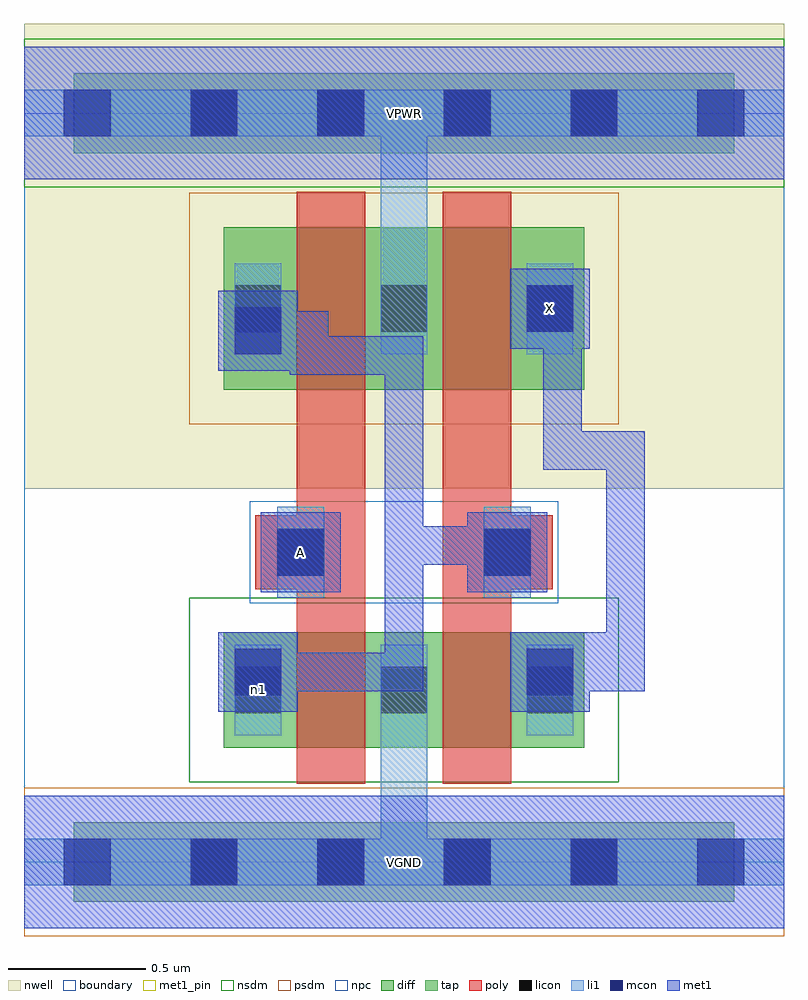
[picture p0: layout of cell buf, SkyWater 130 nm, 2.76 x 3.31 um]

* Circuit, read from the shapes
.subckt buf A VGND VPWR X n1
XM1 VGND A n1 VGND sky130_fd_pr__nfet_01v8 w=0.42 l=0.25
XM2 X n1 VGND VGND sky130_fd_pr__nfet_01v8 w=0.42 l=0.25
XM3 VPWR A n1 VPWR sky130_fd_pr__pfet_01v8 w=0.59 l=0.25
XM4 X n1 VPWR VPWR sky130_fd_pr__pfet_01v8 w=0.59 l=0.25
.ends

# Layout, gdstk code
import gdstk
lib = gdstk.Library(unit=1e-6, precision=1e-09)
def R(c, l, rs):  # rectangles x0, y0, x1, y1
    for r in rs: c.add(gdstk.rectangle(r[:2], r[2:], *l))
def A(c, l, x, y, w, h, nx, ny, dx, dy):  # array of equal rectangles
    R(c, l, [(x+i*dx, y+j*dy, x+i*dx+w, y+j*dy+h) for i in range(nx) for j in range(ny)])
nwell = (64, 20)
diff = (65, 20)
tap = (65, 44)
poly = (66, 20)
licon = (66, 44)
li1 = (67, 20)
mcon = (67, 44)
met1_pin = (68, 16)
met1 = (68, 20)
nsdm = (93, 44)
psdm = (94, 20)
npc = (95, 20)
boundary = (235, 4)

buf = lib.new_cell('buf')
R(buf, nwell, [(0,1.355,2.76,3.045)])
R(buf, diff, [(0.725,0.415,2.035,0.835), (0.725,1.715,2.035,2.305)])
R(buf, tap, [(0.18,-0.145,2.58,0.145), (0.18,2.575,2.58,2.865)])
R(buf, poly, [(0.99,0.285,1.24,2.435), (1.52,0.285,1.77,2.435), (0.84,0.99,1.17,1.26), (1.59,0.99,1.92,1.26)])
A(buf, licon, 0.605, -0.085, 0.17, 0.17, 4, 2, 0.46, 2.72)
A(buf, licon, 0.765, 0.54, 0.17, 0.17, 3, 2, 0.53, 1.385)
R(buf, licon, [(0.92,1.04,1.09,1.21), (1.67,1.04,1.84,1.21)])
A(buf, li1, 0.765, 0.46, 0.17, 0.33, 3, 2, 0.53, 1.385)
R(buf, li1, [(0,-0.085,2.76,0.085), (1.295,-0.085,1.465,0.79), (0.92,0.96,1.09,1.29), (1.67,0.96,1.84,1.29), (1.295,1.845,1.465,2.805), (0,2.635,2.76,2.805)])
A(buf, mcon, 0.145, -0.085, 0.17, 0.17, 6, 2, 0.46, 2.72)
R(buf, mcon, [(0.765,0.605,0.935,0.775), (1.825,0.605,1.995,0.775), (0.92,1.04,1.09,1.21), (1.67,1.04,1.84,1.21), (0.765,1.845,0.935,2.015), (1.825,1.925,1.995,2.095)])
R(buf, met1_pin, [(0,-0.24,2.76,0.24), (0.86,0.98,1.15,1.27), (1.765,1.865,2.055,2.155), (0,2.48,2.76,2.96)])
R(buf, met1, [(0,-0.24,2.76,0.24), (0.705,0.545,0.995,0.835), (1.765,0.545,2.055,0.835), (0.78,0.62,1.105,0.76), (0.965,0.62,1.45,0.76), (1.31,0.62,1.45,1.22), (1.84,0.62,2.14,0.76), (2,0.62,2.255,0.76), (2.055,0.62,2.115,0.835), (2.115,0.62,2.255,1.565), (0.86,0.98,1.15,1.27), (1.61,0.98,1.9,1.27), (1.31,1.08,1.795,1.22), (1.31,1.08,1.45,1.91), (1.655,1.08,1.795,1.22), (1.885,1.425,2.025,2.025), (1.885,1.425,2.255,1.565), (0.965,1.77,1.45,1.91), (0.965,1.77,1.105,2), (0.705,1.785,0.995,2.075), (0.78,1.86,1.105,2), (1.765,1.865,2.055,2.155), (1.885,1.885,2.025,2.025), (0,2.48,2.76,2.96)])
R(buf, nsdm, [(0.6,0.29,2.16,0.96), (0,2.45,2.76,2.99)])
R(buf, psdm, [(0,-0.27,2.76,0.27), (0.6,1.59,2.16,2.43)])
R(buf, npc, [(0.82,0.94,1.94,1.31)])
R(buf, boundary, [(0,0,2.76,2.72)])
buf.add(gdstk.Label('n1', (0.85,0.625), layer=67, texttype=5))
buf.add(gdstk.Label('A', (1.005,1.125), layer=68, texttype=5))
buf.add(gdstk.Label('X', (1.91,2.01), layer=68, texttype=5))
buf.add(gdstk.Label('VPWR', (1.38,2.72), layer=68, texttype=5))
buf.add(gdstk.Label('VGND', (1.38,0), layer=68, texttype=5))
buf.add(gdstk.Label('A', (1.005,1.125), layer=68, texttype=16))
buf.add(gdstk.Label('X', (1.91,2.01), layer=68, texttype=16))
buf.add(gdstk.Label('VPWR', (1.38,2.72), layer=68, texttype=16))
buf.add(gdstk.Label('VGND', (1.38,0), layer=68, texttype=16))

lib.write_gds('buf.gds')
